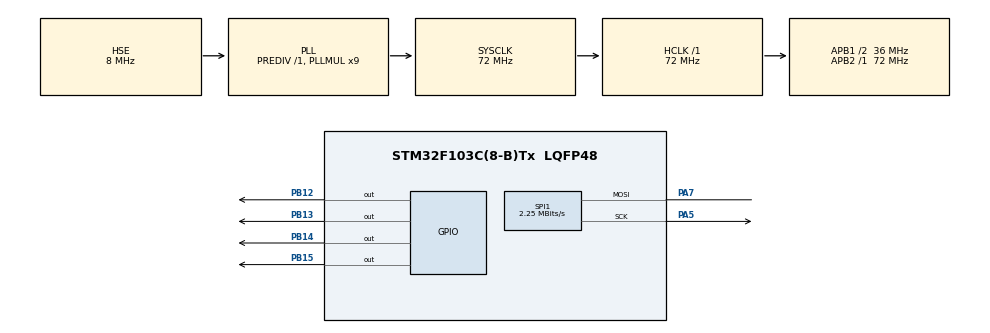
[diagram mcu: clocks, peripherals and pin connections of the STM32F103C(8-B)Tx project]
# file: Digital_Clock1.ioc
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Mcu.Family=STM32F1
Mcu.Name=STM32F103C(8-B)Tx
Mcu.Package=LQFP48
NVIC.PriorityGroup=NVIC_PRIORITYGROUP_4
PA13.Mode=Serial_Wire
PA13.Signal=SYS_JTMS-SWDIO
PA14.Mode=Serial_Wire
PA14.Signal=SYS_JTCK-SWCLK
PA5.Mode=Simplex_Bidirectional_Master
PA5.Signal=SPI1_SCK
PA7.Mode=Simplex_Bidirectional_Master
PA7.Signal=SPI1_MOSI
PB12.Signal=GPIO_Output
PB13.Signal=GPIO_Output
PB14.Signal=GPIO_Output
PB15.Signal=GPIO_Output
PD0-OSC_IN.Mode=HSE-External-Oscillator
PD0-OSC_IN.Signal=RCC_OSC_IN
PD1-OSC_OUT.Mode=HSE-External-Oscillator
PD1-OSC_OUT.Signal=RCC_OSC_OUT
ProjectManager.HeapSize=0x200
ProjectManager.StackSize=0x400
ProjectManager.TargetToolchain=STM32CubeIDE
RCC.AHBFreq_Value=72000000
RCC.APB1CLKDivider=RCC_HCLK_DIV2
RCC.APB1Freq_Value=36000000
RCC.APB1TimFreq_Value=72000000
RCC.APB2Freq_Value=72000000
RCC.APB2TimFreq_Value=72000000
RCC.HCLKFreq_Value=72000000
RCC.PLLMUL=RCC_PLL_MUL9
RCC.PLLSourceVirtual=RCC_PLLSOURCE_HSE
RCC.SYSCLKFreq_VALUE=72000000
RCC.SYSCLKSource=RCC_SYSCLKSOURCE_PLLCLK
RCC.USBFreq_Value=72000000
RTC.Date=6
RTC.Month=RTC_MONTH_MARCH
RTC.WeekDay=RTC_WEEKDAY_WEDNESDAY
RTC.Year=24
SPI1.BaudRatePrescaler=SPI_BAUDRATEPRESCALER_32
SPI1.CalculateBaudRate=2.25 MBits/s
SPI1.Direction=SPI_DIRECTION_1LINE
SPI1.Mode=SPI_MODE_MASTER
SPI1.VirtualType=VM_MASTER
VP_RTC_VS_RTC_Activate.Mode=RTC_Enabled
VP_RTC_VS_RTC_Calendar.Mode=RTC_Calendar
board=custom

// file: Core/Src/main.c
/* USER CODE BEGIN Header */
/**
 **************************
 * @file           : main.c
 * @brief          : Main program body
 **************************
 * @attention
 *
 * Copyright (c) 2024 STMicroelectronics.
 * All rights reserved.
 *
 * This software is licensed under terms that can be found in the LICENSE file
 * in the root directory of this software component.
 * If no LICENSE file comes with this software, it is provided AS-IS.
 *
 **************************
 */
/* USER CODE END Header */
#include "main.h"

/* USER CODE BEGIN Includes */
#include <string.h>
#include "ST7735.h"
#include "fonts.h"
/* USER CODE END Includes */

/* USER CODE BEGIN PTD */
char time[20];
char date[20];
RTC_TimeTypeDef sTime;
 RTC_DateTypeDef sDate;
/* USER CODE END PTD */

RTC_HandleTypeDef hrtc;

SPI_HandleTypeDef hspi1;

/* USER CODE BEGIN PV */
int8_t Menu_Counter = 0;  // to the left
/* USER CODE END PV */

void SystemClock_Config(void);
static void MX_GPIO_Init(void);
static void MX_RTC_Init(void);
static void MX_SPI1_Init(void);

int main(void)
{

  /* MCU Configuration--------------------------------------------------------*/

  /* Reset of all peripherals, Initializes the Flash interface and the Systick. */
  HAL_Init();

  /* Configure the system clock */
  SystemClock_Config();

  /* Initialize all configured peripherals */
  MX_GPIO_Init();
  MX_RTC_Init();
  MX_SPI1_Init();
  /* USER CODE BEGIN 2 */
  char buffer[10];
  char sum[10] = "";
  char* bucket = sum + strlen(sum);
  char yearline[25]="";
  typedef enum
  { mon=1,tue,wend,thurs,fri,sat,sun

  } thisday;
  typedef enum
   { jan=1,feb,mar,april,may,june,july,aug,sept,oct,nov,dec

   } thismonth;

  HAL_RTC_GetDate(&hrtc,&sDate,RTC_FORMAT_BIN);
  /* USER CODE END 2 */

  /* Infinite loop */
  /* USER CODE BEGIN WHILE */
	ST7735_Init();
	HAL_Delay(1000);
	ST7735_FillScreen(ST7735_YELLOW);
	HAL_Delay(1000);
	ST7735_WriteString(5 ,4,"DIGITAL CLOCK" ,Font_7x10 ,ST7735_PURPLE,ST7735_YELLOW);
	thisday day;
	switch(sDate.WeekDay)
	{ case sat:	ST7735_WriteString(5 ,105,"saturday" ,Font_11x18 ,ST7735_PURPLE,ST7735_YELLOW);
		break;
	case sun:ST7735_WriteString(5 ,105,"sunday" ,Font_11x18 ,ST7735_PURPLE,ST7735_YELLOW);
			break;
	case mon:ST7735_WriteString(5,105,"monday" ,Font_11x18 ,ST7735_PURPLE,ST7735_YELLOW);
			break;
	case tue:ST7735_WriteString(5 ,105,"tuesday" ,Font_11x18 ,ST7735_PURPLE,ST7735_YELLOW);
			break;
	case wend:ST7735_WriteString(5 ,105,"wendsday" ,Font_11x18 ,ST7735_PURPLE,ST7735_YELLOW);
	case thurs:ST7735_WriteString(5 ,105,"thursday" ,Font_11x18 ,ST7735_PURPLE,ST7735_YELLOW);
			break;
	case fri:ST7735_WriteString(5 ,105,"friday" ,Font_11x18 ,ST7735_PURPLE,ST7735_YELLOW);
			break;
	default:
			break;
	}
	switch (sDate.Month) {
	        case jan:
	            strcpy(sum, "JAN");
	            break;
	        case feb:
	            strcpy(sum, "FEB");
	            break;
	        case mar:
	            strcpy(sum, "MAR");
	            break;
	        case april:
	            strcpy(sum, "APR");
	            break;
	        case may:
	            strcpy(sum, "MAY");
	            break;
	        case june:
	            strcpy(sum, "JUN");
	            break;
	        case july:
	            strcpy(sum, "JUL");
	            break;
	        case aug:
	            strcpy(sum, "AUG");
	            break;
	        case sept:
	            strcpy(sum, "SEP");
	            break;
	        case oct:
	            strcpy(sum, "OCT");
	            break;
	        case nov:
	            strcpy(sum, "NOV");
	            break;
	        case dec:
	            strcpy(sum, "DEC");
	            break;
	        default:
	            break;
	    }
	 bucket = yearline + strlen(yearline);
	 sprintf(buffer, "%02d", sDate.Date);
				  strcat(bucket, buffer);
				  strcat(bucket, " ");
				  strcat(bucket,sum);
				  strcat(bucket, " ");
				  strcat(bucket, "20");
				  sprintf(buffer, "%02d", sDate.Year);
				  strcat(bucket, buffer);
				  ST7735_WriteString(5 ,45,yearline ,Font_11x18 ,ST7735_BLUE,ST7735_YELLOW);
	while (1) {
		char timeline[20]="";
			  HAL_RTC_GetDate(&hrtc,&sDate,RTC_FORMAT_BIN);
			  HAL_RTC_GetTime(&hrtc,&sTime,RTC_FORMAT_BIN);

			   bucket = timeline + strlen(timeline); // Pointing bucket to the end of prefix
			  // Assuming time/date components can be represented within 10 characters
			  // Convert time components to strings

			  sprintf(buffer, "%02d", sTime.Hours);
			  strcat(bucket, buffer);
			  strcat(bucket, ":");
			  sprintf(buffer, "%02d", sTime.Minutes);
			  strcat(bucket, buffer);
			  strcat(bucket, ":");
			  sprintf(buffer, "%02d", sTime.Seconds);
			  strcat(bucket, buffer);
			 ST7735_WriteString(5 ,80,timeline ,Font_11x18 ,ST7735_BROWN,ST7735_YELLOW);

			  // Convert date components to strings

			  /***************/

			  HAL_Delay(1000);

    /* USER CODE END WHILE */

	}
}

void SystemClock_Config(void)
{
  RCC_OscInitTypeDef RCC_OscInitStruct = {0};
  RCC_ClkInitTypeDef RCC_ClkInitStruct = {0};
  RCC_PeriphCLKInitTypeDef PeriphClkInit = {0};

  /** Initializes the RCC Oscillators according to the specified parameters
  * in the RCC_OscInitTypeDef structure.
  */
  RCC_OscInitStruct.OscillatorType = RCC_OSCILLATORTYPE_LSI|RCC_OSCILLATORTYPE_HSE;
  RCC_OscInitStruct.HSEState = RCC_HSE_ON;
  RCC_OscInitStruct.HSEPredivValue = RCC_HSE_PREDIV_DIV1;
  RCC_OscInitStruct.HSIState = RCC_HSI_ON;
  RCC_OscInitStruct.LSIState = RCC_LSI_ON;
  RCC_OscInitStruct.PLL.PLLState = RCC_PLL_ON;
  RCC_OscInitStruct.PLL.PLLSource = RCC_PLLSOURCE_HSE;
  RCC_OscInitStruct.PLL.PLLMUL = RCC_PLL_MUL9;
  if (HAL_RCC_OscConfig(&RCC_OscInitStruct) != HAL_OK)
  {
    Error_Handler();
  }

  /** Initializes the CPU, AHB and APB buses clocks
  */
  RCC_ClkInitStruct.ClockType = RCC_CLOCKTYPE_HCLK|RCC_CLOCKTYPE_SYSCLK
                              |RCC_CLOCKTYPE_PCLK1|RCC_CLOCKTYPE_PCLK2;
  RCC_ClkInitStruct.SYSCLKSource = RCC_SYSCLKSOURCE_PLLCLK;
  RCC_ClkInitStruct.AHBCLKDivider = RCC_SYSCLK_DIV1;
  RCC_ClkInitStruct.APB1CLKDivider = RCC_HCLK_DIV2;
  RCC_ClkInitStruct.APB2CLKDivider = RCC_HCLK_DIV1;

  if (HAL_RCC_ClockConfig(&RCC_ClkInitStruct, FLASH_LATENCY_2) != HAL_OK)
  {
    Error_Handler();
  }
  PeriphClkInit.PeriphClockSelection = RCC_PERIPHCLK_RTC;
  PeriphClkInit.RTCClockSelection = RCC_RTCCLKSOURCE_LSI;
  if (HAL_RCCEx_PeriphCLKConfig(&PeriphClkInit) != HAL_OK)
  {
    Error_Handler();
  }
}

static void MX_RTC_Init(void)
{

  RTC_TimeTypeDef sTime = {0};
  RTC_DateTypeDef DateToUpdate = {0};

  /** Initialize RTC Only
  */
  hrtc.Instance = RTC;
  hrtc.Init.AsynchPrediv = RTC_AUTO_1_SECOND;
  hrtc.Init.OutPut = RTC_OUTPUTSOURCE_ALARM;
  if (HAL_RTC_Init(&hrtc) != HAL_OK)
  {
    Error_Handler();
  }

  /** Initialize RTC and set the Time and Date
  */
  sTime.Hours = 0x0;
  sTime.Minutes = 0x0;
  sTime.Seconds = 0x0;

  if (HAL_RTC_SetTime(&hrtc, &sTime, RTC_FORMAT_BCD) != HAL_OK)
  {
    Error_Handler();
  }
  DateToUpdate.WeekDay = RTC_WEEKDAY_TUESDAY;
  DateToUpdate.Month = RTC_MONTH_MARCH;
  DateToUpdate.Date = 0x4;
  DateToUpdate.Year = 0x24;

  if (HAL_RTC_SetDate(&hrtc, &DateToUpdate, RTC_FORMAT_BCD) != HAL_OK)
  {
    Error_Handler();
  }

}

static void MX_SPI1_Init(void)
{

  /* SPI1 parameter configuration*/
  hspi1.Instance = SPI1;
  hspi1.Init.Mode = SPI_MODE_MASTER;
  hspi1.Init.Direction = SPI_DIRECTION_1LINE;
  hspi1.Init.DataSize = SPI_DATASIZE_8BIT;
  hspi1.Init.CLKPolarity = SPI_POLARITY_LOW;
  hspi1.Init.CLKPhase = SPI_PHASE_1EDGE;
  hspi1.Init.NSS = SPI_NSS_SOFT;
  hspi1.Init.BaudRatePrescaler = SPI_BAUDRATEPRESCALER_32;
  hspi1.Init.FirstBit = SPI_FIRSTBIT_MSB;
  hspi1.Init.TIMode = SPI_TIMODE_DISABLE;
  hspi1.Init.CRCCalculation = SPI_CRCCALCULATION_DISABLE;
  hspi1.Init.CRCPolynomial = 10;
  if (HAL_SPI_Init(&hspi1) != HAL_OK)
  {
    Error_Handler();
  }

}

static void MX_GPIO_Init(void)
{
  GPIO_InitTypeDef GPIO_InitStruct = {0};

  /* GPIO Ports Clock Enable */
  __HAL_RCC_GPIOD_CLK_ENABLE();
  __HAL_RCC_GPIOA_CLK_ENABLE();
  __HAL_RCC_GPIOB_CLK_ENABLE();

  /*Configure GPIO pin Output Level */
  HAL_GPIO_WritePin(GPIOB, GPIO_PIN_12|GPIO_PIN_13|GPIO_PIN_14|GPIO_PIN_15, GPIO_PIN_RESET);

  /*Configure GPIO pins : PB12 PB13 PB14 PB15 */
  GPIO_InitStruct.Pin = GPIO_PIN_12|GPIO_PIN_13|GPIO_PIN_14|GPIO_PIN_15;
  GPIO_InitStruct.Mode = GPIO_MODE_OUTPUT_PP;
  GPIO_InitStruct.Pull = GPIO_NOPULL;
  GPIO_InitStruct.Speed = GPIO_SPEED_FREQ_LOW;
  HAL_GPIO_Init(GPIOB, &GPIO_InitStruct);

}

void Error_Handler(void)
{
	__disable_irq();
	while (1) {
	}
}
